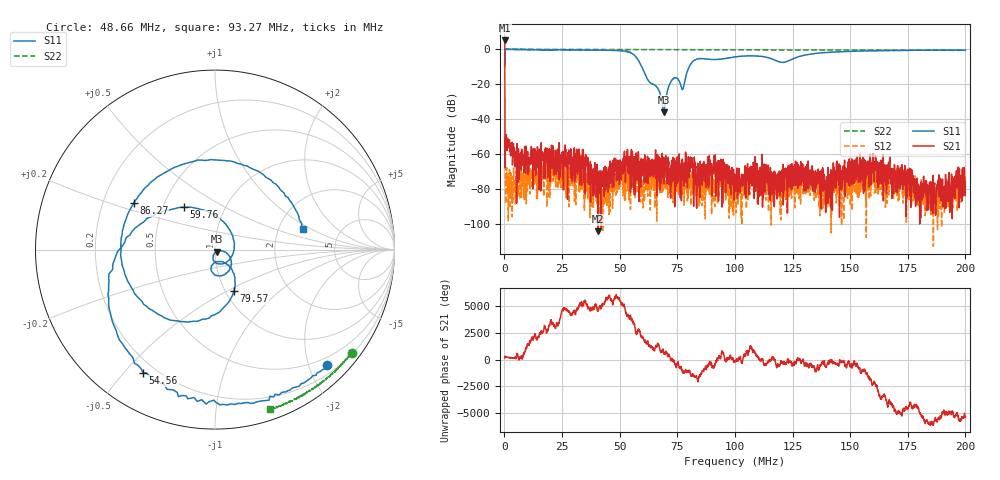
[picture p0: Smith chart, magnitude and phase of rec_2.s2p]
! 27-Aug-26 2:44:03 PM
! E:\20260827_VNA\REC_2.S2P
! CHANNEL.1
! TR.MEASUREMENT
! CORRECTED.DATA
# GHZ S RI R 50.0
! FREQ.GHZ  S11RE  S11IM  S21RE  S21IM  S12RE  S12IM  S22RE  S22IM
!; PortSelection: Port_12
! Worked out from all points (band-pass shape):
!   2000 points, 50 kHz to 200 MHz, reference 50 ohm
!   highest |S21| = 4.80 dB at 50 kHz (marker M1); lowest = -104.4 dB at 40.66 MHz (marker M2)
!   |S21| within 3 dB of the highest: start of sweep to 99.73 kHz
!   lowest |S11| = -36.3 dB at 69.17 MHz (marker M3), VSWR 1.03, Z = 50.9 - j1.26 ohm
!   |S11| at or under -10 dB: start of sweep to 52.53 kHz; 59.49 MHz to 80.23 MHz (20.74 MHz wide, 29.7 % of centre)
!   |S22| runs from -0.9 to 0.3 dB; largest |S21 - S12| = 1.7
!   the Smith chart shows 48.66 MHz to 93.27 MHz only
!   S11 on the Smith chart (normalised r, x): 48.66 MHz: 0.36, -2.32; 54.56 MHz: 0.15, -0.56; 59.76 MHz: 0.64, +0.33; 79.57 MHz: 1.10, -0.54; 86.27 MHz: 0.33, +0.24; 93.27 MHz: 2.74, +0.84
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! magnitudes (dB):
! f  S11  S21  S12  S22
! 50 kHz  -10.1  4.8  -49.9  0.3
! 1.25 MHz  -0.4  -51.0  -73.8  -0.1
! 5.751 MHz  -0.4  -68.7  -84.3  -0.3
! 21.06 MHz  -0.7  -56.2  -69.2  -0.4
! 33.46 MHz  -0.7  -78.1  -79.8  -0.4
! 40.66 MHz  -0.8  -104.4  -78.4  -0.4
! 48.66 MHz  -1.0  -71.1  -81.9  -0.4
! 54.56 MHz  -2.0  -71.1  -75.0  -0.4
! 59.76 MHz  -10.7  -72.5  -79.6  -0.4
! 66.77 MHz  -23.1  -68.9  -72.4  -0.4
! 69.17 MHz  -36.3  -77.3  -68.4  -0.5
! 72.47 MHz  -18.2  -67.7  -82.4  -0.5
! 77.27 MHz  -23.3  -64.5  -76.0  -0.5
! 79.57 MHz  -11.9  -70.6  -69.7  -0.5
! 86.27 MHz  -5.6  -65.4  -74.3  -0.5
! 93.27 MHz  -6.0  -68.9  -77.6  -0.5
! 100.1 MHz  -4.6  -77.5  -77.9  -0.5
! 133.4 MHz  -2.9  -75.9  -78.6  -0.6
! 160.7 MHz  -1.1  -66.1  -77.5  -0.7
! 166.7 MHz  -1.0  -64.8  -77.8  -0.7
! 180.7 MHz  -0.8  -77.3  -82.5  -0.8
! 200 MHz  -0.7  -76.0  -75.6  -0.8
